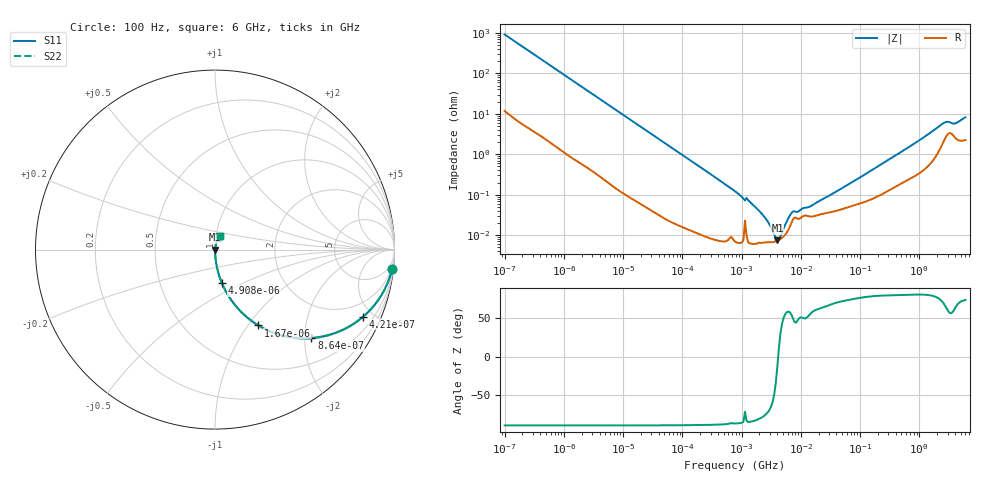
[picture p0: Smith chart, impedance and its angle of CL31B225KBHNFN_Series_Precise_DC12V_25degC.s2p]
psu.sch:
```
<QucsStudio Schematic 2.5.7>
<Properties>
  <View=30,-49,2133,1063,0.715976,0,0>
  <Grid=10,10,1>
  <DataSet=psu.dat>
  <DataDisplay=psu.dpl>
  <OpenDisplay=1>
  <showFrame=0>
  <FrameText0=Title>
  <FrameText1=Drawn By:>
  <FrameText2=Date:>
  <FrameText3=Revision:>
</Properties>
<Symbol>
</Symbol>
<Components>
  <R R2 1 350 390 15 -26 0 1 "0.8" 1 "26.85" 0 "0" 0 "0" 0 "26.85" 0 "european" 0 "SMD0603" 0>
  <C C10 1 350 450 17 -26 0 1 "tol(6.8µF,20,1)" 1 "" 0 "neutral" 0 "SMD0603" 0>
  <R R1 1 550 320 -26 15 0 0 "0.198" 1 "26.85" 0 "0" 0 "0" 0 "26.85" 0 "european" 0 "SMD0603" 0>
  <L L5 1 610 320 -26 10 0 0 "tol(15uH,20,1)" 1 "" 0 "SELF-WE-PD3S" 0>
  <C C11 1 580 250 -26 -48 0 0 "tol(15nF,10,1)" 1 "" 0 "neutral" 0 "SMD0603" 0>
  <R R3 1 750 390 15 -26 0 1 "0.8" 1 "26.85" 0 "0" 0 "0" 0 "26.85" 0 "european" 0 "SMD0603" 0>
  <C C12 1 750 450 17 -26 0 1 "tol(6.8µF,20,1)" 1 "" 0 "neutral" 0 "SMD0603" 0>
  <L L6 1 1040 320 -30 -50 0 0 "0.1µH" 1 "" 0 "SELF-WE-PD3S" 0>
  <C C14 1 1070 350 17 -26 0 1 "4nF" 1 "" 0 "neutral" 0 "SMD0603" 0>
  <C C13 1 1010 350 -63 -42 0 1 "4nF" 1 "" 0 "neutral" 0 "SMD0603" 0>
  <VProbe Pr2 1 810 210 28 -31 0 0>
  <GND * 1 820 230 0 0 0 0>
  <GND * 1 1040 640 0 0 0 0>
  <GND * 1 140 650 0 0 0 0>
  <Vdc V2 1 140 490 18 -26 0 0 "12 V" 1 "battery" 0 "SIL-2" 0>
  <GND * 1 420 390 0 0 0 0>
  <SPfile X1 1 450 390 21 -26 0 3 "CL31B225KBHNFN_Series_Precise_DC12V_25degC.s2p" 0 "polar" 0 "linear" 0 "short" 0 "no" 0 "2" 0 "block" 0 "SOT23" 0>
  <GND * 1 820 390 0 0 0 0>
  <SPfile X2 1 850 390 21 -26 0 3 "CL31B225KBHNFN_Series_Precise_DC12V_25degC.s2p" 0 "polar" 0 "linear" 0 "short" 0 "no" 0 "2" 0 "block" 0 "SOT23" 0>
  <DCBlock C1 1 850 450 21 -26 0 1 "1 µF" 0>
  <DCBlock C18 1 450 450 21 -26 0 1 "1 µF" 0>
  <Vac V1 1 140 430 18 -26 0 0 "1 uV" 1 "20 kHz" 0 "0" 0 "0" 0 "SUBCLICK" 0>
  <VProbe Pr3 1 1150 210 28 -31 0 0>
  <GND * 1 1160 230 0 0 0 0>
  <VProbe Pr1 1 150 210 28 -31 0 0>
  <GND * 1 160 230 0 0 0 0>
  <R R9 1 1670 100 -26 15 0 0 "1 Ohm" 1 "26.85" 0 "0" 0 "0" 0 "26.85" 0 "european" 0 "SMD0603" 0>
  <C C15 1 1730 130 17 -26 0 1 "47u" 1 "" 0 "neutral" 0 "SMD0603" 0>
  <C C19 0 1820 130 17 -26 0 1 "47u" 1 "" 0 "neutral" 0 "SMD0603" 0>
  <VProbe Pr9 1 2050 80 28 -31 0 0>
  <R R11 1 1670 380 -26 15 0 0 "1 Ohm" 1 "26.85" 0 "0" 0 "0" 0 "26.85" 0 "european" 0 "SMD0603" 0>
  <C C20 1 1730 410 17 -26 0 1 "47u" 1 "" 0 "neutral" 0 "SMD0603" 0>
  <C C21 0 1820 410 17 -26 0 1 "47u" 1 "" 0 "neutral" 0 "SMD0603" 0>
  <VProbe Pr10 1 2050 360 28 -31 0 0>
  <Irect I2 1 1920 460 19 -33 0 2 "250 mA" 1 "0 mA" 0 "1 ms" 1 "1 ms" 1 "1 ns" 0 "1 ns" 0 "0.5ms" 0 "high_low" 0>
  <Irect I1 1 1920 170 19 -33 0 2 "50 mA" 1 "0 mA" 0 "1 ms" 1 "1 ms" 1 "1 ns" 0 "1 ns" 0 "0 ns" 0 "high_low" 0>
  <R R13 0 1820 470 15 -26 0 1 "0.5" 1 "26.85" 0 "0" 0 "0" 0 "26.85" 0 "european" 0 "SMD0603" 0>
  <R R10 0 1820 190 15 -26 0 1 "0.5" 1 "26.85" 0 "0" 0 "0" 0 "26.85" 0 "european" 0 "SMD0603" 0>
  <L L1 1 1250 320 -26 10 0 0 "3 uH" 1 "" 0 "SELF-WE-PD3S" 0>
  <.AC AC1 1 150 800 0 37 0 0 "log" 1 "10 Hz" 1 "100 MHz" 1 "701" 1 "no" 0 "none" 0>
  <.TR TR1 0 350 790 0 61 0 0 "lin" 0 "0" 0 "2 ms" 1 "5001" 1 "Gear3" 0 "1e-16" 0 "500" 0 "0.001" 0 "1 µV" 0 "yes" 0 "none" 0>
  <R R12 1 1730 470 15 -26 0 1 "0.02" 1 "26.85" 0 "0" 0 "0" 0 "26.85" 0 "european" 0 "SMD0603" 0>
  <R R5 1 1730 190 15 -26 0 1 "0.02" 1 "26.85" 0 "0" 0 "0" 0 "26.85" 0 "european" 0 "SMD0603" 0>
</Components>
<Wires>
  <140 320 400 320 "" 0 0 0 "">
  <400 320 400 360 "" 0 0 0 "">
  <350 360 400 360 "" 0 0 0 "">
  <350 480 400 480 "" 0 0 0 "">
  <640 320 800 320 "" 0 0 0 "">
  <400 320 520 320 "" 0 0 0 "">
  <520 250 520 320 "" 0 0 0 "">
  <520 250 550 250 "" 0 0 0 "">
  <610 250 640 250 "" 0 0 0 "">
  <640 250 640 320 "" 0 0 0 "">
  <750 480 800 480 "" 0 0 0 "">
  <750 360 800 360 "" 0 0 0 "">
  <800 320 1010 320 "" 0 0 0 "">
  <800 320 800 360 "" 0 0 0 "">
  <1070 320 1140 320 "" 0 0 0 "">
  <1010 380 1040 380 "" 0 0 0 "">
  <800 230 800 320 "" 0 0 0 "">
  <400 480 400 620 "" 0 0 0 "">
  <800 480 800 620 "" 0 0 0 "">
  <1040 380 1070 380 "" 0 0 0 "">
  <1040 380 1040 620 "" 0 0 0 "">
  <1040 620 1040 640 "" 0 0 0 "">
  <800 620 1040 620 "" 0 0 0 "">
  <400 620 800 620 "" 0 0 0 "">
  <140 620 140 650 "" 0 0 0 "">
  <140 620 400 620 "" 0 0 0 "">
  <140 320 140 400 "" 0 0 0 "">
  <140 520 140 620 "" 0 0 0 "">
  <400 480 450 480 "" 0 0 0 "">
  <400 360 450 360 "" 0 0 0 "">
  <800 480 850 480 "" 0 0 0 "">
  <800 360 850 360 "" 0 0 0 "">
  <1140 320 1220 320 "" 0 0 0 "">
  <1140 230 1140 320 "" 0 0 0 "">
  <140 230 140 320 "" 0 0 0 "">
  <1700 100 1730 100 "" 0 0 0 "">
  <1730 100 1820 100 "" 0 0 0 "">
  <1820 100 1920 100 "" 0 0 0 "">
  <2060 100 2060 260 "" 0 0 0 "">
  <1730 260 1820 260 "" 0 0 0 "">
  <1730 220 1730 260 "" 0 0 0 "">
  <1820 260 1920 260 "" 0 0 0 "">
  <1820 220 1820 260 "" 0 0 0 "">
  <1700 380 1730 380 "" 0 0 0 "">
  <1730 380 1820 380 "" 0 0 0 "">
  <1820 380 1920 380 "" 0 0 0 "">
  <1920 380 1920 430 "" 0 0 0 "">
  <1920 380 2040 380 "" 0 0 0 "">
  <2060 380 2060 540 "" 0 0 0 "">
  <1730 500 1730 540 "" 0 0 0 "">
  <1730 540 1820 540 "" 0 0 0 "">
  <1820 500 1820 540 "" 0 0 0 "">
  <1820 540 1920 540 "" 0 0 0 "">
  <1920 540 2060 540 "" 0 0 0 "">
  <1920 490 1920 540 "" 0 0 0 "">
  <1280 320 1560 320 "" 0 0 0 "">
  <1560 100 1640 100 "" 0 0 0 "">
  <1560 100 1560 320 "" 0 0 0 "">
  <1560 380 1640 380 "" 0 0 0 "">
  <1560 320 1560 380 "" 0 0 0 "">
  <1600 260 1730 260 "" 0 0 0 "">
  <1600 260 1600 540 "" 0 0 0 "">
  <1600 540 1730 540 "" 0 0 0 "">
  <1920 100 2040 100 "" 0 0 0 "">
  <1920 100 1920 140 "" 0 0 0 "">
  <1920 260 2060 260 "" 0 0 0 "">
  <1920 200 1920 260 "" 0 0 0 "">
  <1040 620 1600 620 "" 0 0 0 "">
  <1600 540 1600 620 "" 0 0 0 "">
</Wires>
<Diagrams>
</Diagrams>
<Paintings>
  <Text 525 271 12 #000000 0 "NRS5020T150MMGJ">
  <Text 535 171 12 #000000 0 "885012207123">
  <Text 1045 391 12 #000000 0 "4700-008MLF">
  <Text 1225 231 12 #000000 0 "Wire">
  <Text 255 641 12 #000000 0 "EKYB101ELL6R8ME11D">
  <Text 375 671 12 #000000 0 "CL31B225KBHNFNE">
  <Text 665 641 12 #000000 0 "EKYB101ELL6R8ME11D">
  <Text 795 671 12 #000000 0 "CL31B225KBHNFNE">
  <Text 1715 51 12 #000000 0 "Small signal">
  <Text 1725 341 12 #000000 0 "Amplifier">
</Paintings>
```
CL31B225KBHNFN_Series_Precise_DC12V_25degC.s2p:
! CL31B225KBHNFN Multilayer Ceramic Capacitor Sparameter Model
! Model Generated by Samsung Electro-Mechanics
! Samsung Sparameter Version 5.0
! Date : May-30-2020
! Products : Multilayer Ceramic Capacitor(General)
! Characteristics :
!  Nominal Capacitance = 2.2uF
!  Capacitance Tolerance = ¡¾10 %
!  TCC = X7R(-55 ~ +125 degC.)
!  Rated Voltage = 50Vdc
!  Size = 1206(unit:inch), 3216(unit:mm)
!  Length = 3.20 ¡¾ 0.20 mm
!  Width = 1.60 ¡¾ 0.20 mm
!  Thickness = 1.60 ¡¾ 0.20 mm
!  Measurement Temperature : 25degC.
!  DC bias Value = 12V
!  Frequency : 100Hz ~ 6GHz
! External Node Assignments :
!  1  o---||---o  2
# MHz S RI R 50.0
! Freq.  Real(S11)  Im(S11)  Real(S12)  Im(S12)  Real(S21)  Im(S21)  Real(S22)  Im(S22)
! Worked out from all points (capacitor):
!   300 points, 100 Hz to 6 GHz, reference 50 ohm
!   read as one part in series: C = 1.73 uF near 106.2 Hz
!   lowest |Z| = 7.43 mohm at 4.022 MHz (marker M1)
!   series resonance near 4.147 MHz, so ESL is about 850 pH
!   S11 on the Smith chart (normalised r, x): 100 Hz: 1, -18; 421 Hz: 1.05, -4.40; 864 Hz: 1.03, -2.16; 1.67 kHz: 1.01, -1.12; 4.908 kHz: 1.00, -0.39; 6 GHz: 1.04, +0.16
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0.0001  0.9869 -0.1074  0.0131 0.1074  0.0131 0.1074  0.9869 -0.1074
0.0004210496  0.8259 -0.373  0.1741 0.373  0.1741 0.373  0.8259 -0.373
0.0008639723  0.5375 -0.4927  0.4625 0.4927  0.4625 0.4927  0.5375 -0.4927
0.001669754  0.2419 -0.4223  0.7581 0.4223  0.7581 0.4223  0.2419 -0.4223
0.004907976  0.0378 -0.1848  0.9622 0.1848  0.9622 0.1848  0.0378 -0.1848
0.7981464  6.87e-05 -0.00118  0.9999 0.00118  0.9999 0.00118  6.87e-05 -0.00118
4.022142  7.26e-05 -1.56e-05  0.9999 1.56e-05  0.9999 1.56e-05  7.26e-05 -1.56e-05
7.321436  0.000241 0.000295  0.9998 -0.000295  0.9998 -0.000295  0.000241 0.000295
36.89531  0.000388 0.00105  0.9996 -0.00105  0.9996 -0.00105  0.000388 0.00105
2593.922  0.0236 0.0532  0.9764 -0.0532  0.9764 -0.0532  0.0236 0.0532
6000  0.0278 0.0752  0.9722 -0.0752  0.9722 -0.0752  0.0278 0.0752
